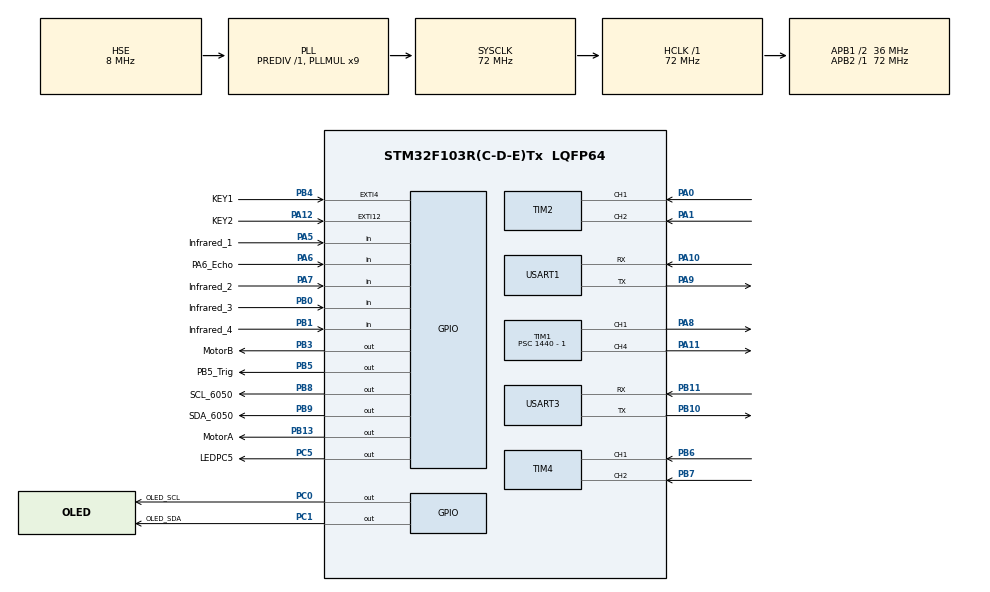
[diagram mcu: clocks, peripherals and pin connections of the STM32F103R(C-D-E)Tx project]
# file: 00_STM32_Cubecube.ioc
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FREERTOS.INCLUDE_uxTaskGetStackHighWaterMark=1
FREERTOS.Tasks01=StopTask,0,128,StartStopTask,Default,NULL,Dynamic,NULL,NULL;LEDTask,0,128,StartLEDTask,Default,NULL,Dynamic,NULL,NULL;OLEDTask,0,128,StartOLEDTask,Default,NULL,Dynamic,NULL,NULL;Multi_ModeTask,1,128,StartMulti_ModeTask,Default,NULL,Dynamic,NULL,NULL
FREERTOS.configUSE_NEWLIB_REENTRANT=1
Mcu.Family=STM32F1
Mcu.Name=STM32F103R(C-D-E)Tx
Mcu.Package=LQFP64
NVIC.EXTI15_10_IRQn=true\:5\:0\:false\:false\:true\:true\:true\:true\:true
NVIC.EXTI4_IRQn=true\:5\:0\:false\:false\:true\:true\:true\:true\:true
NVIC.PriorityGroup=NVIC_PRIORITYGROUP_4
NVIC.TIM1_UP_IRQn=true\:5\:0\:false\:false\:true\:true\:true\:true\:true
NVIC.TIM2_IRQn=true\:5\:0\:false\:false\:true\:true\:true\:true\:true
NVIC.TIM3_IRQn=true\:15\:0\:false\:false\:true\:false\:false\:true\:true
NVIC.TIM4_IRQn=true\:5\:0\:true\:false\:true\:true\:true\:true\:true
NVIC.TimeBase=TIM3_IRQn
NVIC.TimeBaseIP=TIM3
NVIC.USART1_IRQn=true\:5\:0\:true\:false\:true\:true\:true\:true\:true
NVIC.USART3_IRQn=true\:5\:0\:true\:false\:true\:true\:true\:true\:true
PA0-WKUP.GPIO_PuPd=GPIO_PULLUP
PA0-WKUP.Signal=S_TIM2_CH1_ETR
PA1.GPIO_PuPd=GPIO_PULLUP
PA1.Signal=S_TIM2_CH2
PA10.Mode=Asynchronous
PA10.Signal=USART1_RX
PA11.Signal=S_TIM1_CH4
PA12.GPIO_Label=KEY2
PA12.GPIO_ModeDefaultEXTI=GPIO_MODE_IT_FALLING
PA12.GPIO_PuPd=GPIO_PULLUP
PA12.Signal=GPXTI12
PA13.Mode=Serial_Wire
PA13.Signal=SYS_JTMS-SWDIO
PA14.Mode=Serial_Wire
PA14.Signal=SYS_JTCK-SWCLK
PA5.GPIO_Label=Infrared_1
PA5.Signal=GPIO_Input
PA6.GPIO_Label=PA6_Echo
PA6.Signal=GPIO_Input
PA7.GPIO_Label=Infrared_2
PA7.Signal=GPIO_Input
PA8.Signal=S_TIM1_CH1
PA9.Mode=Asynchronous
PA9.Signal=USART1_TX
PB0.GPIO_Label=Infrared_3
PB0.Signal=GPIO_Input
PB1.GPIO_Label=Infrared_4
PB1.Signal=GPIO_Input
PB10.Mode=Asynchronous
PB10.Signal=USART3_TX
PB11.Mode=Asynchronous
PB11.Signal=USART3_RX
PB13.GPIO_Label=MotorA
PB13.Signal=GPIO_Output
PB3.GPIO_Label=MotorB
PB3.Signal=GPIO_Output
PB4.GPIO_Label=KEY1
PB4.GPIO_PuPd=GPIO_PULLDOWN
PB4.Signal=GPXTI4
PB5.GPIO_Label=PB5_Trig
PB5.Signal=GPIO_Output
PB6.GPIO_PuPd=GPIO_PULLUP
PB6.Signal=S_TIM4_CH1
PB7.GPIO_PuPd=GPIO_PULLUP
PB7.Signal=S_TIM4_CH2
PB8.GPIO_Label=SCL_6050
PB8.PinState=GPIO_PIN_SET
PB8.Signal=GPIO_Output
PB9.GPIO_Label=SDA_6050
PB9.PinState=GPIO_PIN_SET
PB9.Signal=GPIO_Output
PC0.GPIO_Label=OLED_SCL
PC0.GPIO_PuPd=GPIO_PULLUP
PC0.PinState=GPIO_PIN_SET
PC0.Signal=GPIO_Output
PC1.GPIO_Label=OLED_SDA
PC1.GPIO_PuPd=GPIO_PULLUP
PC1.PinState=GPIO_PIN_SET
PC1.Signal=GPIO_Output
PC14-OSC32_IN.Mode=LSE-External-Oscillator
PC14-OSC32_IN.Signal=RCC_OSC32_IN
PC15-OSC32_OUT.Mode=LSE-External-Oscillator
PC15-OSC32_OUT.Signal=RCC_OSC32_OUT
PC5.GPIO_Label=LEDPC5
PC5.GPIO_PuPd=GPIO_PULLUP
PC5.GPIO_Speed=GPIO_SPEED_FREQ_MEDIUM
PC5.PinState=GPIO_PIN_SET
PC5.Signal=GPIO_Output
PD0-OSC_IN.Mode=HSE-External-Oscillator
PD0-OSC_IN.Signal=RCC_OSC_IN
PD1-OSC_OUT.Mode=HSE-External-Oscillator
PD1-OSC_OUT.Signal=RCC_OSC_OUT
ProjectManager.HeapSize=0x800
ProjectManager.StackSize=0x800
ProjectManager.TargetToolchain=STM32CubeIDE
RCC.ADCPresc=RCC_ADCPCLK2_DIV6
RCC.AHBFreq_Value=72000000
RCC.APB1CLKDivider=RCC_HCLK_DIV2
RCC.APB1Freq_Value=36000000
RCC.APB1TimFreq_Value=72000000
RCC.APB2Freq_Value=72000000
RCC.APB2TimFreq_Value=72000000
RCC.HCLKFreq_Value=72000000
RCC.PLLMUL=RCC_PLL_MUL9
RCC.PLLSourceVirtual=RCC_PLLSOURCE_HSE
RCC.SYSCLKFreq_VALUE=72000000
RCC.SYSCLKSource=RCC_SYSCLKSOURCE_PLLCLK
RCC.USBFreq_Value=72000000
SH.S_TIM1_CH1.0=TIM1_CH1,PWM Generation1 CH1
SH.S_TIM1_CH4.0=TIM1_CH4,PWM Generation4 CH4
SH.S_TIM2_CH1_ETR.0=TIM2_CH1,Encoder_Interface
SH.S_TIM2_CH2.0=TIM2_CH2,Encoder_Interface
SH.S_TIM4_CH1.0=TIM4_CH1,Encoder_Interface
SH.S_TIM4_CH2.0=TIM4_CH2,Encoder_Interface
TIM1.AutoReloadPreload=TIM_AUTORELOAD_PRELOAD_ENABLE
TIM1.Channel-PWM\ Generation1\ CH1=TIM_CHANNEL_1
TIM1.Channel-PWM\ Generation4\ CH4=TIM_CHANNEL_4
TIM1.Period=100 - 1
TIM1.Prescaler=1440 - 1
TIM1.Pulse-PWM\ Generation1\ CH1=50
TIM1.Pulse-PWM\ Generation4\ CH4=50
TIM2.EncoderMode=TIM_ENCODERMODE_TI12
TIM2.IC1Filter=6
TIM2.IC2Filter=6
TIM4.EncoderMode=TIM_ENCODERMODE_TI12
TIM4.IC1Filter=6
TIM4.IC2Filter=6
USART1.VirtualMode=VM_ASYNC
USART3.VirtualMode=VM_ASYNC
VP_FREERTOS_VS_CMSIS_V1.Mode=CMSIS_V1
VP_SYS_VS_tim3.Mode=TIM3
VP_TIM1_VS_ClockSourceINT.Mode=Internal
board=custom

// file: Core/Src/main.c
/* USER CODE BEGIN Header */
/**
  ******************************************************************************
  * @file           : main.c
  * @brief          : Main program body
  ******************************************************************************
  * @attention
  *
  * Copyright (c) 2026 STMicroelectronics.
  * All rights reserved.
  *
  * This software is licensed under terms that can be found in the LICENSE file
  * in the root directory of this software component.
  * If no LICENSE file comes with this software, it is provided AS-IS.
  *
  ******************************************************************************
  */
/* USER CODE END Header */
#include "main.h"
#include "cmsis_os.h"
#include "tim.h"
#include "usart.h"
#include "gpio.h"

/* USER CODE BEGIN Includes */
#include "motor.h"
#include "stdio.h"
#include "string.h"
#include "pid.h"
#include "cJSON.h"
#include <string.h>
#include "oled.h"
#include "HC_SR04.h"
#include "mpu6050.h"
#include "mpuiic.h"
#include "inv_mpu.h"
#include "inv_mpu_dmp_motion_driver.h"
/* USER CODE END Includes */

/* USER CODE BEGIN PM */
//extern float Motor1Speed;
//extern float Motor2Speed;
char uart_buf[64];
//extern uint16_t Encode1Count;
//extern uint16_t Encode2Count;
extern tPid pid_Motor1Speed;

int Motor1PWM;
int Motor2PWM;

extern tPid pid_Motor1Speed;
extern tPid pid_Motor2Speed;
extern uint8_t Usart1_ReadBuf[256];
extern uint8_t Usart1_ReadCount;
float p, i, d, a, b;
uint8_t K1_1[64];
extern float distance;

extern tPid pidInfrared_Tracking;
uint8_t InfraredLevel_Read[4] = {0};
int8_t CurrentState = 0;
int8_t PreviousState = 0;
float Infraredpid_Speed;  // Infrared PID Output Speed
float Infraredpid_Speed1; // Infrared Final PID Output Speed - Motor 1
float Infraredpid_Speed2; // Infrared Final PID Output Speed - Motor 2

uint8_t Usart3ReceiveData;
uint8_t Usart3Array[80];
float SR04_Read;
float PID_Follow;
extern tPid pidFollow;

float pitch, roll, yaw;

float MPU6050pid_YawMove = 0.00;
float MPU6050pid_YawMove1 = 0.00;
float MPU6050pid_YawMove2 = 0.00;
extern tPid pidMPU6050_YawMovement;

uint16_t timerCount = 0;
short Encode1Count = 0;
short Encode2Count = 0;
float Motor1Speed = 0.00;
float Motor2Speed = 0.00;

uint8_t Key_Mode = 0;

/* USER CODE END PM */

void SystemClock_Config(void);
void MX_FREERTOS_Init(void);
/* USER CODE BEGIN PFP */

/* Input Capture */
//uint8_t rising_flag = 0;
//uint8_t falling_flag = 0;
//uint8_t overflow_val = 0;
//uint16_t cnt_val = 0;

/* USER CODE END PFP */

/* USER CODE BEGIN 0 */

/* Input Capture */
//void HAL_TIM_IC_CaptureCallback(TIM_HandleTypeDef *htim){
//	if(htim->Instance == TIM5){
//		if(falling_flag == 0){
//
//			if(rising_flag == 1){
//				/* This will capture falling edge */
//				falling_flag = 1;
//				cnt_val = HAL_TIM_ReadCapturedValue(htim, TIM_CHANNEL_1);
//				__HAL_TIM_SET_CAPTUREPOLARITY(htim, TIM_CHANNEL_1, TIM_INPUTCHANNELPOLARITY_RISING);
//			}
//
//			else{
//				rising_flag = 0;
//				falling_flag = 0;
//				overflow_val = 0;
//				cnt_val = 0;
//
//				/* This will capture rising edge */
//				rising_flag = 1;
//				__HAL_TIM_DISABLE(htim);
//				__HAL_TIM_SET_COUNTER(htim, 0);
//				__HAL_TIM_SET_CAPTUREPOLARITY(htim, TIM_CHANNEL_1, TIM_INPUTCHANNELPOLARITY_FALLING);
//				__HAL_TIM_ENABLE(htim);
//			}
//		}
//	}
//}
//
//void HAL_TIM_PeriodElapsedCallback(TIM_HandleTypeDef *htim){
//	if(htim->Instance == TIM5){
//		if(falling_flag == 0){
//			if(rising_flag == 1){
//				if((overflow_val & 0XFF) == 0XFF){ // Staying HIGH for too long, capture in mandatory
//					falling_flag = 1;
//					__HAL_TIM_SET_CAPTUREPOLARITY(htim, TIM_CHANNEL_1, TIM_INPUTCHANNELPOLARITY_RISING);
//					cnt_val = 0XFFFF;
//				}
//				else{
//					overflow_val++;
//				}
//			}
//		}
//	}
//}

/* USER CODE END 0 */

int main(void)
{

  /* USER CODE BEGIN 1 */

	/* PWM Output */
//	uint8_t dir = 1;
//	uint16_t val = 250;

	/* Input Capture */
//	uint32_t temp = 0;

  /* USER CODE END 1 */

  /* MCU Configuration--------------------------------------------------------*/

  /* Reset of all peripherals, Initializes the Flash interface and the Systick. */
  HAL_Init();

  /* Configure the system clock */
  SystemClock_Config();

  /* Initialize all configured peripherals */
  MX_GPIO_Init();
  MX_TIM1_Init();
  MX_TIM2_Init();
  MX_TIM4_Init();
  MX_USART1_UART_Init();
  MX_USART3_UART_Init();
  /* USER CODE BEGIN 2 */

	/* PWM Output */
//  HAL_TIM_PWM_Start(&htim3, TIM_CHANNEL_2);

   /* Input Capture */
//  HAL_TIM_Base_Start_IT(&htim5);
//  HAL_TIM_IC_Start_IT(&htim5, TIM_CHANNEL_1);

  /* PWM Dead Time */
//  HAL_TIM_PWM_Start(&htim1, TIM_CHANNEL_1);
//  HAL_TIMEx_PWMN_Start(&htim1, TIM_CHANNEL_1);

  HAL_TIM_PWM_Start(&htim1, TIM_CHANNEL_1);
  HAL_TIM_PWM_Start(&htim1, TIM_CHANNEL_4);
  HAL_TIM_Encoder_Start(&htim2, TIM_CHANNEL_ALL);
  HAL_TIM_Encoder_Start(&htim4, TIM_CHANNEL_ALL);
  HAL_TIM_Base_Start_IT(&htim2);
  HAL_TIM_Base_Start_IT(&htim4);
  HAL_TIM_Base_Start_IT(&htim1);
  __HAL_UART_ENABLE_IT(&huart1, UART_IT_RXNE);

  PID_init();
//  OLED_Init();
//  OLED_Clear();
  HAL_UART_Receive_IT(&huart3, &Usart3ReceiveData, 1);

  HAL_Delay(500);
  MPU_Init();
  while(MPU_Init() != 0);
  while(mpu_dmp_init() != 0);
//  cJSON *cJsonData, *cJsonValue;

//  delay_init();
  /* USER CODE END 2 */

  /* Call init function for freertos objects (in cmsis_os2.c) */
  MX_FREERTOS_Init();

  /* Start scheduler */
  osKernelStart();

  /* We should never get here as control is now taken by the scheduler */

  /* Infinite loop */
  /* USER CODE BEGIN WHILE */
  while (1)
  {
	  /* Testing Serial Monitor */
//	  uint8_t str[] = "Hello UART\r\n";
//	  HAL_UART_Transmit(&huart1, str, sizeof(str)-1, 100);
//	  HAL_Delay(500);

	  /* PWM Output */
//	  if(dir == 1) val++;
//	  else val--;
//
//	  if(val >= 300) dir = 0;
//	  if(val == 0) dir = 1;
//	  __HAL_TIM_SET_COMPARE(&htim3, TIM_CHANNEL_2, val);
//	  HAL_Delay(10);

	  /* Input Capture */
//	  if(falling_flag == 1){
//		  temp = overflow_val * 65536;
//		  temp += cnt_val;
//		  printf("HIGH pulse width: %lu us\r\n", temp);
//		  falling_flag = 0;
//		  rising_flag = 0;
//	  }

//	  printf("HIGH pulse width: hello!!\r\n");
//	  fflush(stdout);
//	  HAL_Delay(100);

    /* USER CODE END WHILE */

    /* USER CODE BEGIN 3 */

	  sprintf((char * )K1_1, "Key_Mode:%d", Key_Mode);
	  OLED_ShowString(0, 0, K1_1, 16, 1); // show current key mode

	  if(Key_Mode == 0){

		  /* OLED Display Info (Speed, Distance, Voltage) */
		  sprintf((char * )K1_1, "Motor1Speed:%f Motor2Speed:%f", Motor1Speed, Motor2Speed);
		  OLED_ShowString(0, 0, K1_1, 16, 1); // From oled.c, a function that shows position

		  sprintf((char * )K1_1, "Distance:%f", distance);
		  OLED_ShowString(0, 1, K1_1, 16, 1); // a function that shows distance traveled

//		  sprintf((char * )K1_1, "Battery_Voltage:%.2d", adcGetBatteryVoltage());
//		  OLED_ShowString(0, 2, K1_1, 16, 1); // a function that shows battery voltage

		  sprintf((char * )Usart3Array, "HC_SR04:%.2f\r\n", HC_SR04_Read());
		  OLED_ShowString(0, 2, K1_1, 16, 1); // a function that shows HC_SR04(supersonic wave) value

		  sprintf((char * )Usart3Array, "pitch:%.2f roll:%.2f yaw:%.2f\r\n", pitch, roll, yaw);
		  OLED_ShowString(0, 2, K1_1, 16, 1); // a function that shows 6050 position values

		  /* Receive 6050 data */
//		  while(mpu_dmp_get_data(&pitch, &roll, &yaw) != 0) {};

		  /* Show Motors Stop */
		  motorPIDSetSpeed(0, 0);
	  }

	  if(Key_Mode == 1){

		  /* Infrared Movement With PID */
		  InfraredLevel_Read[0] = Read_Infrared_1;
		  InfraredLevel_Read[1] = Read_Infrared_2;
		  InfraredLevel_Read[2] = Read_Infrared_3;
		  InfraredLevel_Read[3] = Read_Infrared_4;

		  if(InfraredLevel_Read[0] == 0 && InfraredLevel_Read[1] == 0 && InfraredLevel_Read[2] == 0 && InfraredLevel_Read[3] == 0){
	//		  sprintf(uart_buf, "Moving Forward\r\n");
	//		  HAL_UART_Transmit(&huart1, (uint8_t *)uart_buf, strlen(uart_buf), 100); // Increase efficiency
			  CurrentState = 0; // move forward
		  }
		  else if(InfraredLevel_Read[0] == 0 && InfraredLevel_Read[1] == 1 && InfraredLevel_Read[2] == 0 && InfraredLevel_Read[3] == 0){
	//		  sprintf(uart_buf, "Turn Right\r\n");
	//		  HAL_UART_Transmit(&huart1, (uint8_t *)uart_buf, strlen(uart_buf), 100); // Increase efficiency
			  CurrentState = -1; // turn right
		  }
		  else if(InfraredLevel_Read[0] == 1 && InfraredLevel_Read[1] == 0 && InfraredLevel_Read[2] == 0 && InfraredLevel_Read[3] == 0){
	//		  sprintf(uart_buf, "Instantly Turn Right\r\n");
	//		  HAL_UART_Transmit(&huart1, (uint8_t *)uart_buf, strlen(uart_buf), 100); // Increase efficiency
			  CurrentState = -2; // instantly turn right
		  }
		  else if(InfraredLevel_Read[0] == 1 && InfraredLevel_Read[1] == 1 && InfraredLevel_Read[2] == 0 && InfraredLevel_Read[3] == 0){
	//		  sprintf(uart_buf, "Instantly Turn Right\r\n");
	//		  HAL_UART_Transmit(&huart1, (uint8_t *)uart_buf, strlen(uart_buf), 100); // Increase efficiency
			  CurrentState = -3; // instantly turn right
		  }
		  else if(InfraredLevel_Read[0] == 0 && InfraredLevel_Read[1] == 0 && InfraredLevel_Read[2] == 1 && InfraredLevel_Read[3] == 0){
	//		  sprintf(uart_buf, "Turn Left\r\n");
	//		  HAL_UART_Transmit(&huart1, (uint8_t *)uart_buf, strlen(uart_buf), 100); // Increase efficiency
			  CurrentState = 1; // turn left
		  }
		  else if(InfraredLevel_Read[0] == 0 && InfraredLevel_Read[1] == 0 && InfraredLevel_Read[2] == 0 && InfraredLevel_Read[3] == 1){
	//		  sprintf(uart_buf, "Instantly Turn Left\r\n");
	//		  HAL_UART_Transmit(&huart1, (uint8_t *)uart_buf, strlen(uart_buf), 100); // Increase efficiency
			  CurrentState = 2; // instantly turn left
		  }
		  else if(InfraredLevel_Read[0] == 0 && InfraredLevel_Read[1] == 0 && InfraredLevel_Read[2] == 1 && InfraredLevel_Read[3] == 1){
	//		  sprintf(uart_buf, "Instantly Turn Left\r\n");
	//		  HAL_UART_Transmit(&huart1, (uint8_t *)uart_buf, strlen(uart_buf), 100); // Increase efficiency
			  CurrentState = 3; // instantly turn left
		  }

		  Infraredpid_Speed = PID_realize(&pidInfrared_Tracking, CurrentState); // PID calculates the target speed
		  Infraredpid_Speed1 = 3 + Infraredpid_Speed; // Motor1 Speed = Initial Speed + PID Output Speed
		  Infraredpid_Speed2 = 3 - Infraredpid_Speed; // Motor2 Speed = Initial Speed - PID Output Speed
		  if(Infraredpid_Speed1 > 5) Infraredpid_Speed1 = 5;
		  if(Infraredpid_Speed1 < 0) Infraredpid_Speed1 = 0;
		  if(Infraredpid_Speed2 > 5) Infraredpid_Speed2 = 5;
		  if(Infraredpid_Speed2 < 0) Infraredpid_Speed2 = 0;
		  if(CurrentState != PreviousState){
			  motorPIDSetSpeed(Infraredpid_Speed1, Infraredpid_Speed2);
		  }
		  PreviousState = CurrentState;
	  }

	  if(Key_Mode == 2){
		  /* Using Computer USART to Control Car */
		  // This is completed in stm32f1xx_it.c
	  }

	  if(Key_Mode == 3){
		  /* Obstacle Avoidance */
		  	  if(HC_SR04_Read() > 25){ // the next 25cm are clear, no obstacle
		  		  motorPIDSetSpeed(1, 1); // move forward
		  		  HAL_Delay(100);
		  	  }
		  	  else{ // obstacle in front
		  		  motorPIDSetSpeed(-1, 1); // turn around (to the right)
		  		  HAL_Delay(500);
		  		  if(HC_SR04_Read() > 25){ // no obstacle at the right
		  			  motorPIDSetSpeed(1, 1); // move forward
		  			  HAL_Delay(100);
		  		  }
		  		  else{ // obstacle at the right
		  			  motorPIDSetSpeed(1, -1); // turn around (to the left)
		  			  HAL_Delay(1000);
		  			  if(HC_SR04_Read() > 25){ // no obstacle at the left
		  				  motorPIDSetSpeed(1, 1); // move forward
		  				  HAL_Delay(100);
		  			  }
		  			  else{ // obstacle at the left
		  				  motorPIDSetSpeed(-1, -1); // move backward
		  				  HAL_Delay(1000);
		  				  motorPIDSetSpeed(-1, 1); // turn around (to the right)
		  				  HAL_Delay(50);
		  			  }
		  		  }
		  	  }
	  }

	  if(Key_Mode == 4){
		  /* Following with PID */
		  SR04_Read = HC_SR04_Read(); // read the distance to the obstacle
		  if(SR04_Read < 60){ // start following when the obstacle is 60cm ahead
			  PID_Follow = PID_realize(&pidFollow, SR04_Read); // PID calculates target speed
			  if(PID_Follow > 6) PID_Follow = 6;
			  if(PID_Follow < -6) PID_Follow = -6;
			  motorPIDSetSpeed(PID_Follow, PID_Follow); // speed applies to motors
		  }
		  else motorPIDSetSpeed(0, 0); // stop
		  HAL_Delay(10);
	  }

	  if(Key_Mode == 5){
		  sprintf((char * )Usart3Array, "pitch:%.2f roll:%.2f yaw:%.2f\r\n", pitch, roll, yaw);
		 	  HAL_UART_Transmit(&huart3, (uint8_t *)Usart3Array, strlen((const char * )Usart3Array), 0XFFFF);
		 	  HAL_Delay(1000);

		 	  /* MPU_6050 PID Control */
		 	  // mpu_dmp_get_data(&pitch, &roll, &yaw); // DMP returns angle value
//		 	  while(mpu_dmp_get_data(&pitch, &roll, &yaw) != 0){}

		 	  MPU6050pid_YawMove = PID_realize(&pidMPU6050_YawMovement, yaw); // PID calculates target speed
		 	  MPU6050pid_YawMove1 = 1.5 + MPU6050pid_YawMove;
		 	  MPU6050pid_YawMove2 = 1.5 - MPU6050pid_YawMove;
		 	  if(MPU6050pid_YawMove1 > 3.5) MPU6050pid_YawMove1 = 3.5;
		 	  if(MPU6050pid_YawMove1 < 0) MPU6050pid_YawMove1 = 0;
		 	  if(MPU6050pid_YawMove2 > 3.5) MPU6050pid_YawMove2 = 3.5;
		 	  if(MPU6050pid_YawMove2 < 0) MPU6050pid_YawMove2 = 0;
		 	  motorPIDSetSpeed(MPU6050pid_YawMove1, MPU6050pid_YawMove2);
	  }

	  /* PWM control */
//	  if(Motor1Speed < 2.9) Motor1PWM++;
//	  if(Motor1Speed > 3.1) Motor1PWM--;
//	  if(Motor2Speed < 2.9) Motor2PWM++;
//	  if(Motor2Speed > 3.1) Motor2PWM--;

//	  sprintf(uart_buf, "Encode1Count: %d\r\n", Encode1Count);
//	  HAL_UART_Transmit(&huart1, (uint8_t *)uart_buf, strlen(uart_buf), 100);
//
//	  sprintf(uart_buf, "Encode2Count: %d\r\n", Encode2Count);
//	  HAL_UART_Transmit(&huart1, (uint8_t *)uart_buf, strlen(uart_buf), 100);

//	  sprintf(uart_buf, "Motor1Speed: %d\r\n", Motor1Speed);
//	  HAL_UART_Transmit(&huart1, (uint8_t *)uart_buf, strlen(uart_buf), 100);
//
//	  sprintf(uart_buf, "Motor2Speed: %d\r\n", Motor2Speed);
//	  HAL_UART_Transmit(&huart1, (uint8_t *)uart_buf, strlen(uart_buf), 100);
//
//	  sprintf(uart_buf, "Motor1PWM: %d\r\n", Motor1PWM);
//	  HAL_UART_Transmit(&huart1, (uint8_t *)uart_buf, strlen(uart_buf), 100);
//
//	  sprintf(uart_buf, "Motor2PWM: %d\r\n", Motor2PWM);
//	  HAL_UART_Transmit(&huart1, (uint8_t *)uart_buf, strlen(uart_buf), 100);
//	  HAL_Delay(10);

	  /* Control Car Movement */
//	  motorPIDSetSpeed(1, 2); // turn right (Motor2 runs faster than Motor1, Motor2 on the left)
//	  motorPIDSetSpeed(2, 1); // turn left (Motor1 runs faster than Motor2)
//	  motorPIDSetSpeed(1, 1); // move forward
//	  motorPIDSetSpeed(-1, -1); // move backward
//	  motorPIDSetSpeed(-1, 1); // turn around (to the right)
//	  motorPIDSetSpeed(1, -1); // turn around (to the left)
//    motorPidAccelerate();
//	  motorPidDecelerate();

	  /* OLED Display Info (Speed, Distance, Voltage) */
//	  sprintf((char * )K1_1, "Motor1Speed:%d Motor2Speed:%d", Motor1Speed, Motor2Speed);
//	  OLED_ShowString(0, 0, K1_1, 16, 1); // From oled.c, a function that shows position
//
//	  sprintf((char * )K1_1, "Distance:%d", distance);
//	  OLED_ShowString(0, 1, K1_1, 16, 1); // a function that shows distance traveled
//
//	  sprintf((char * )K1_1, "Battery_Voltage:%.2f", adcGetBatteryVoltage());
//	  OLED_ShowString(0, 2, K1_1, 16, 1); // a function that shows battery voltage
//
//	  sprintf((char * )Usart3Array, "HC_SR04:%.2f\r\n", HC_SR04_Read());
//	  OLED_ShowString(0, 2, K1_1, 16, 1); // a function that shows HC_SR04(supersonic wave) value
//
//	  sprintf((char * )Usart3Array, "pitch:%.2f roll:%.2f yaw:%.2f\r\n", pitch, roll, yaw);
//	  OLED_ShowString(0, 2, K1_1, 16, 1); // a function that shows 6050 position values
//
//	  OLED_Refresh();

	  /* Infrared Movement With PID */
//	  InfraredLevel_Read[0] = Read_Infrared_1;
//	  InfraredLevel_Read[1] = Read_Infrared_2;
//	  InfraredLevel_Read[2] = Read_Infrared_3;
//	  InfraredLevel_Read[3] = Read_Infrared_4;
//
//	  if(InfraredLevel_Read[0] == 0 && InfraredLevel_Read[1] == 0 && InfraredLevel_Read[2] == 0 && InfraredLevel_Read[3] == 0){
////		  sprintf(uart_buf, "Moving Forward\r\n");
////		  HAL_UART_Transmit(&huart1, (uint8_t *)uart_buf, strlen(uart_buf), 100); // Increase efficiency
//		  CurrentState = 0; // move forward
//	  }
//	  else if(InfraredLevel_Read[0] == 0 && InfraredLevel_Read[1] == 1 && InfraredLevel_Read[2] == 0 && InfraredLevel_Read[3] == 0){
////		  sprintf(uart_buf, "Turn Right\r\n");
////		  HAL_UART_Transmit(&huart1, (uint8_t *)uart_buf, strlen(uart_buf), 100); // Increase efficiency
//		  CurrentState = -1; // turn right
//	  }
//	  else if(InfraredLevel_Read[0] == 1 && InfraredLevel_Read[1] == 0 && InfraredLevel_Read[2] == 0 && InfraredLevel_Read[3] == 0){
////		  sprintf(uart_buf, "Instantly Turn Right\r\n");
////		  HAL_UART_Transmit(&huart1, (uint8_t *)uart_buf, strlen(uart_buf), 100); // Increase efficiency
//		  CurrentState = -2; // instantly turn right
//	  }
//	  else if(InfraredLevel_Read[0] == 1 && InfraredLevel_Read[1] == 1 && InfraredLevel_Read[2] == 0 && InfraredLevel_Read[3] == 0){
////		  sprintf(uart_buf, "Instantly Turn Right\r\n");
////		  HAL_UART_Transmit(&huart1, (uint8_t *)uart_buf, strlen(uart_buf), 100); // Increase efficiency
//		  CurrentState = -3; // instantly turn right
//	  }
//	  else if(InfraredLevel_Read[0] == 0 && InfraredLevel_Read[1] == 0 && InfraredLevel_Read[2] == 1 && InfraredLevel_Read[3] == 0){
////		  sprintf(uart_buf, "Turn Left\r\n");
////		  HAL_UART_Transmit(&huart1, (uint8_t *)uart_buf, strlen(uart_buf), 100); // Increase efficiency
//		  CurrentState = 1; // turn left
//	  }
//	  else if(InfraredLevel_Read[0] == 0 && InfraredLevel_Read[1] == 0 && InfraredLevel_Read[2] == 0 && InfraredLevel_Read[3] == 1){
////		  sprintf(uart_buf, "Instantly Turn Left\r\n");
////		  HAL_UART_Transmit(&huart1, (uint8_t *)uart_buf, strlen(uart_buf), 100); // Increase efficiency
//		  CurrentState = 2; // instantly turn left
//	  }
//	  else if(InfraredLevel_Read[0] == 0 && InfraredLevel_Read[1] == 0 && InfraredLevel_Read[2] == 1 && InfraredLevel_Read[3] == 1){
////		  sprintf(uart_buf, "Instantly Turn Left\r\n");
////		  HAL_UART_Transmit(&huart1, (uint8_t *)uart_buf, strlen(uart_buf), 100); // Increase efficiency
//		  CurrentState = 3; // instantly turn left
//	  }
//
//	  Infraredpid_Speed = PID_realize(&pidInfrared_Tracking, CurrentState); // PID calculates the target speed
//	  Infraredpid_Speed1 = 3 + Infraredpid_Speed; // Motor1 Speed = Initial Speed + PID Output Speed
//	  Infraredpid_Speed2 = 3 - Infraredpid_Speed; // Motor2 Speed = Initial Speed - PID Output Speed
//	  if(Infraredpid_Speed1 > 5) Infraredpid_Speed1 = 5;
//	  if(Infraredpid_Speed1 < 0) Infraredpid_Speed1 = 0;
//	  if(Infraredpid_Speed2 > 5) Infraredpid_Speed2 = 5;
//	  if(Infraredpid_Speed2 < 0) Infraredpid_Speed2 = 0;
//	  if(CurrentState != PreviousState){
//		  motorPIDSetSpeed(Infraredpid_Speed1, Infraredpid_Speed2);
//	  }
//	  PreviousState = CurrentState;

	  /* Infrared Movement With No PID */
//	  if(Read_Infrared_1 == 0 && Read_Infrared_2 == 0 && Read_Infrared_3 == 0 && Read_Infrared_4 == 0){
//		  sprintf(uart_buf, "Moving Forward\r\n");
//		  HAL_UART_Transmit(&huart1, (uint8_t *)uart_buf, strlen(uart_buf), 100);
//		  motorPIDSetSpeed(1, 1); // move forward
//	  }
//	  if(Read_Infrared_1 == 0 && Read_Infrared_2 == 1 && Read_Infrared_3 == 0 && Read_Infrared_4 == 0){
//		  sprintf(uart_buf, "Turning Right\r\n");
//		  HAL_UART_Transmit(&huart1, (uint8_t *)uart_buf, strlen(uart_buf), 100);
//		  motorPIDSetSpeed(0.5, 2); // turn right
//	  }
//	  if(Read_Infrared_1 == 1 && Read_Infrared_2 == 0 && Read_Infrared_3 == 0 && Read_Infrared_4 == 0){
//		  sprintf(uart_buf, "Instantly Turning Right\r\n");
//		  HAL_UART_Transmit(&huart1, (uint8_t *)uart_buf, strlen(uart_buf), 100);
//		  motorPIDSetSpeed(0.5, 2.5); // instantly turn right
//	  }
//
//	  if(Read_Infrared_1 == 0 && Read_Infrared_2 == 0 && Read_Infrared_3 == 1 && Read_Infrared_4 == 0){
//		  sprintf(uart_buf, "Turning Left\r\n");
//		  HAL_UART_Transmit(&huart1, (uint8_t *)uart_buf, strlen(uart_buf), 100);
//		  motorPIDSetSpeed(2, 0.5); // turn left
//	  }
//
//	  if(Read_Infrared_1 == 0 && Read_Infrared_2 == 0 && Read_Infrared_3 == 0 && Read_Infrared_4 == 1){
//		  sprintf(uart_buf, "Instantly Turning Left\r\n");
//		  HAL_UART_Transmit(&huart1, (uint8_t *)uart_buf, strlen(uart_buf), 100);
//		  motorPIDSetSpeed(2.5, 0.5); // instantly turn left
//	  }
	  /* Using Computer USART to Control Car */

//	  sprintf((char * )Usart3Array, "Motor1Speed:%.2f Motor2Speed:%.2f\r\n", Motor1Speed, Motor2Speed);
//	  HAL_UART_Transmit(&huart3, (uint8_t *)Usart3Array, strlen((const char * )Usart3Array), 50);
//
//	  sprintf((char * )Usart3Array, "Distance:%.2f\r\n", distance);
//	  HAL_UART_Transmit(&huart3, (uint8_t *)Usart3Array, strlen((const char * )Usart3Array), 50);
//
//	  sprintf((char * )Usart3Array, "Battery_Voltage:%.2f\r\n", adcGetBatteryVoltage());
//	  HAL_UART_Transmit(&huart3, (uint8_t *)Usart3Array, strlen((const char * )Usart3Array), 50);
//
	  sprintf((char * )Usart3Array, "HC_SR04:%.2f\r\n", HC_SR04_Read());
	  HAL_UART_Transmit(&huart3, (uint8_t *)Usart3Array, strlen((const char * )Usart3Array), 0XFFFF);
	  HAL_Delay(1000);

//	  sprintf((char * )Usart3Array, "pitch:%.2f roll:%.2f yaw:%.2f\r\n", pitch, roll, yaw);
//	  HAL_UART_Transmit(&huart3, (uint8_t *)Usart3Array, strlen((const char * )Usart3Array), 0XFFFF);
//	  HAL_Delay(1000);
//
//	  /* MPU_6050 PID Control */
//	  // mpu_dmp_get_data(&pitch, &roll, &yaw); // DMP returns angle value
//	  while(mpu_dmp_get_data(&pitch, &roll, &yaw) != 0){}
//
//	  MPU6050pid_YawMove = PID_realize(&pidMPU6050_YawMovement, yaw); // PID calculates target speed
//	  MPU6050pid_YawMove1 = 1.5 + MPU6050pid_YawMove;
//	  MPU6050pid_YawMove2 = 1.5 - MPU6050pid_YawMove;
//	  if(MPU6050pid_YawMove1 > 3.5) MPU6050pid_YawMove1 = 3.5;
//	  if(MPU6050pid_YawMove1 < 0) MPU6050pid_YawMove1 = 0;
//	  if(MPU6050pid_YawMove2 > 3.5) MPU6050pid_YawMove2 = 3.5;
//	  if(MPU6050pid_YawMove2 < 0) MPU6050pid_YawMove2 = 0;
//	  motorPIDSetSpeed(MPU6050pid_YawMove1, MPU6050pid_YawMove2);

      /* cJson Usart Edit */
//	  if(Usart_WaitReasFinish() == 0){ // check if data finished receiving
//		  cJsonData = cJSON_Parse((const char *)Usart1_ReadBuf);
//
//		  if(cJSON_GetObjectItem(cJsonData, "p") != NULL){
//			  cJsonValue = cJSON_GetObjectItem(cJsonData, "p");
//			  p = cJsonValue->valuedouble;
//			  pid_Motor1Speed.Kp = p;
//		  }
//		  if(cJSON_GetObjectItem(cJsonData, "i") != NULL){
//			  cJsonValue = cJSON_GetObjectItem(cJsonData, "i");
//			  i = cJsonValue->valuedouble;
//			  pid_Motor1Speed.Ki = i;
//		  }
//		  if(cJSON_GetObjectItem(cJsonData, "d") != NULL){
//			  cJsonValue = cJSON_GetObjectItem(cJsonData, "d");
//			  d = cJsonValue->valuedouble;
//			  pid_Motor1Speed.Kd = d;
//		  }
//		  if(cJSON_GetObjectItem(cJsonData, "a") != NULL){
//			  cJsonValue = cJSON_GetObjectItem(cJsonData, "a");
//			  a = cJsonValue->valuedouble;
//			  pid_Motor1Speed.target_val = a;
//		  }
//		  if(cJSON_GetObjectItem(cJsonData, "b") != NULL){
//			  cJsonValue = cJSON_GetObjectItem(cJsonData, "b");
//			  b = cJsonValue->valuedouble;
//			  pid_Motor2Speed.target_val = b;
//		  }
//		  if(cJsonData != NULL){
//			  cJSON_Delete(cJsonData); // release RAM space, but keeping cJSONValue
//		  }
//		  memset(Usart1_ReadBuf, 0, sizeof(Usart1_ReadBuf)); //clean buf, do not use strlen here
//		  sprintf(uart_buf, "P: %.2f  I: %.2f  D: %.2f  A: %.2f\r\n", p, i, d, a);
//		  HAL_UART_Transmit(&huart1, (uint8_t *)uart_buf, strlen(uart_buf), 100);
//	  }

	  /* Obstacle Avoidance */
//	  if(HC_SR04_Read() > 25){ // the next 25cm are clear, no obstacle
//		  motorPIDSetSpeed(1, 1); // move forward
//		  HAL_Delay(100);
//	  }
//	  else{ // obstacle in front
//		  motorPIDSetSpeed(-1, 1); // turn around (to the right)
//		  HAL_Delay(500);
//		  if(HC_SR04_Read() > 25){ // no obstacle at the right
//			  motorPIDSetSpeed(1, 1); // move forward
//			  HAL_Delay(100);
//		  }
//		  else{ // obstacle at the right
//			  motorPIDSetSpeed(1, -1); // turn around (to the left)
//			  HAL_Delay(1000);
//			  if(HC_SR04_Read() > 25){ // no obstacle at the left
//				  motorPIDSetSpeed(1, 1); // move forward
//				  HAL_Delay(100);
//			  }
//			  else{ // obstacle at the left
//				  motorPIDSetSpeed(-1, -1); // move backward
//				  HAL_Delay(1000);
//				  motorPIDSetSpeed(-1, 1); // turn around (to the right)
//				  HAL_Delay(50);
//			  }
//		  }
//	  }
//  }

  /* Following without PID */
//  if(HC_SR04_Read() > 25){
//	  motorPIDSetSpeed(1, 1); // move forward
//	  HAL_Delay(100);
//  }
//  if(HC_SR04_Read() < 20){
//	  motorPIDSetSpeed(-1, -1); // move backward
//	  HAL_Delay(100);
//  }

  /* Following with PID */
//  SR04_Read = HC_SR04_Read(); // read the distance to the obstacle
//  if(SR04_Read < 60){ // start following when the obstacle is 60cm ahead
//	  PID_Follow = PID_realize(&pidFollow, SR04_Read); // PID calculates target speed
//	  if(PID_Follow > 6) PID_Follow = 6;
//	  if(PID_Follow < -6) PID_Follow = -6;
//	  motorPIDSetSpeed(PID_Follow, PID_Follow); // speed applies to motors
//  }
//  else motorPIDSetSpeed(0, 0); // stop
//  HAL_Delay(10);
  }

  /* USER CODE END 3 */
}

void SystemClock_Config(void)
{
  RCC_OscInitTypeDef RCC_OscInitStruct = {0};
  RCC_ClkInitTypeDef RCC_ClkInitStruct = {0};

  /** Initializes the RCC Oscillators according to the specified parameters
  * in the RCC_OscInitTypeDef structure.
  */
  RCC_OscInitStruct.OscillatorType = RCC_OSCILLATORTYPE_HSE;
  RCC_OscInitStruct.HSEState = RCC_HSE_ON;
  RCC_OscInitStruct.HSEPredivValue = RCC_HSE_PREDIV_DIV1;
  RCC_OscInitStruct.HSIState = RCC_HSI_ON;
  RCC_OscInitStruct.PLL.PLLState = RCC_PLL_ON;
  RCC_OscInitStruct.PLL.PLLSource = RCC_PLLSOURCE_HSE;
  RCC_OscInitStruct.PLL.PLLMUL = RCC_PLL_MUL9;
  if (HAL_RCC_OscConfig(&RCC_OscInitStruct) != HAL_OK)
  {
    Error_Handler();
  }

  /** Initializes the CPU, AHB and APB buses clocks
  */
  RCC_ClkInitStruct.ClockType = RCC_CLOCKTYPE_HCLK|RCC_CLOCKTYPE_SYSCLK
                              |RCC_CLOCKTYPE_PCLK1|RCC_CLOCKTYPE_PCLK2;
  RCC_ClkInitStruct.SYSCLKSource = RCC_SYSCLKSOURCE_PLLCLK;
  RCC_ClkInitStruct.AHBCLKDivider = RCC_SYSCLK_DIV1;
  RCC_ClkInitStruct.APB1CLKDivider = RCC_HCLK_DIV2;
  RCC_ClkInitStruct.APB2CLKDivider = RCC_HCLK_DIV1;

  if (HAL_RCC_ClockConfig(&RCC_ClkInitStruct, FLASH_LATENCY_2) != HAL_OK)
  {
    Error_Handler();
  }
}

/* USER CODE BEGIN 4 */

/* Printf Redirection */
//int fputc(int ch, FILE *f)
//{
//    uint8_t temp = (uint8_t)ch;
//    // 非阻塞发送，不等待，避免卡死printf
//    HAL_UART_Transmit_IT(&huart1, &temp, 1);
//    // 等待发送完成标志
//    while(HAL_UART_GetState(&huart1) == HAL_UART_STATE_BUSY_TX);
//    return ch;
//}
/* USER CODE END 4 */

void HAL_TIM_PeriodElapsedCallback(TIM_HandleTypeDef *htim)
{
  /* USER CODE BEGIN Callback 0 */
	if(htim == &htim1){ // htim1 500HZ, 2ms interruption
		timerCount++;
		if(timerCount % 5 == 0){ // runs every 10ms

			Encode1Count = (short)__HAL_TIM_GET_COUNTER(&htim4);
			Encode2Count = (short)__HAL_TIM_GET_COUNTER(&htim2);
			__HAL_TIM_SET_COUNTER(&htim4, 0);
			__HAL_TIM_SET_COUNTER(&htim2, 0);
			Motor1Speed = (float)Encode1Count * 100 / 9.6 / 11 / 4;
			Motor2Speed = (float)Encode2Count * 100 / 9.6 / 11 / 4;

		}
		if(timerCount % 10 == 0){ // runs every 20ms

			distance += 0.02 * Motor1Speed * 22;
			Motor1PWM = PID_realize(&pid_Motor1Speed, Motor1Speed);
			Motor2PWM = PID_realize(&pid_Motor2Speed, Motor2Speed);
			Motor_Set(Motor1PWM, Motor2PWM);

			timerCount = 0;
		}
	}
  /* USER CODE END Callback 0 */
  if (htim->Instance == TIM3)
  {
    HAL_IncTick();
  }
}

void Error_Handler(void)
{
  __disable_irq();
  while (1)
  {
  }
}

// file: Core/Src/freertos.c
/* USER CODE BEGIN Header */
/**
  ******************************************************************************
  * File Name          : freertos.c
  * Description        : Code for freertos applications
  ******************************************************************************
  * @attention
  *
  * Copyright (c) 2026 STMicroelectronics.
  * All rights reserved.
  *
  * This software is licensed under terms that can be found in the LICENSE file
  * in the root directory of this software component.
  * If no LICENSE file comes with this software, it is provided AS-IS.
  *
  ******************************************************************************
  */
/* USER CODE END Header */

#include "FreeRTOS.h"
#include "task.h"
#include "main.h"
#include "cmsis_os.h"

/* USER CODE BEGIN Includes */
#include "motor.h"
#include "stdio.h"
#include "string.h"
#include "pid.h"
#include "cJSON.h"
#include <string.h>
#include "oled.h"
#include "HC_SR04.h"
#include "mpu6050.h"
#include "mpuiic.h"
#include "inv_mpu.h"
#include "inv_mpu_dmp_motion_driver.h"

#include "tim.h"
#include "usart.h"
#include "gpio.h"
/* USER CODE END Includes */

/* USER CODE BEGIN PTD */
//extern float Motor1Speed;
//extern float Motor2Speed;
extern char uart_buf[64];
//extern uint16_t Encode1Count;
//extern uint16_t Encode2Count;
extern tPid pid_Motor1Speed;

extern int Motor1PWM;
extern int Motor2PWM;

extern tPid pid_Motor1Speed;
extern tPid pid_Motor2Speed;
extern uint8_t Usart1_ReadBuf[256];
extern uint8_t Usart1_ReadCount;
extern float p, i, d, a, b;
extern uint8_t K1_1[64];
extern float distance;

extern tPid pidInfrared_Tracking;
extern uint8_t InfraredLevel_Read[4];
extern int8_t CurrentState;
extern int8_t PreviousState;
extern float Infraredpid_Speed;  // Infrared PID Output Speed
extern float Infraredpid_Speed1; // Infrared Final PID Output Speed - Motor 1
extern float Infraredpid_Speed2; // Infrared Final PID Output Speed - Motor 2

extern uint8_t Usart3ReceiveData;
extern uint8_t Usart3Array[80];
extern float SR04_Read;
extern float PID_Follow;
extern tPid pidFollow;

extern float pitch, roll, yaw;

extern float MPU6050pid_YawMove;
extern float MPU6050pid_YawMove1;
extern float MPU6050pid_YawMove2;
extern tPid pidMPU6050_YawMovement;

extern uint16_t timerCount;
extern short Encode1Count;
extern short Encode2Count;
extern float Motor1Speed;
extern float Motor2Speed;

extern uint8_t Key_Mode;

/* USER CODE END PTD */

osThreadId StopTaskHandle;
osThreadId LEDTaskHandle;
osThreadId OLEDTaskHandle;
osThreadId Multi_ModeTaskHandle;

void StartStopTask(void const * argument);
void StartLEDTask(void const * argument);
void StartOLEDTask(void const * argument);
void StartMulti_ModeTask(void const * argument);

void MX_FREERTOS_Init(void); /* (MISRA C 2004 rule 8.1) */

/* GetIdleTaskMemory prototype (linked to static allocation support) */
void vApplicationGetIdleTaskMemory( StaticTask_t **ppxIdleTaskTCBBuffer, StackType_t **ppxIdleTaskStackBuffer, uint32_t *pulIdleTaskStackSize );

/* USER CODE BEGIN GET_IDLE_TASK_MEMORY */
static StaticTask_t xIdleTaskTCBBuffer;
static StackType_t xIdleStack[configMINIMAL_STACK_SIZE];

void vApplicationGetIdleTaskMemory( StaticTask_t **ppxIdleTaskTCBBuffer, StackType_t **ppxIdleTaskStackBuffer, uint32_t *pulIdleTaskStackSize )
{
  *ppxIdleTaskTCBBuffer = &xIdleTaskTCBBuffer;
  *ppxIdleTaskStackBuffer = &xIdleStack[0];
  *pulIdleTaskStackSize = configMINIMAL_STACK_SIZE;
  /* place for user code */
}
/* USER CODE END GET_IDLE_TASK_MEMORY */

void MX_FREERTOS_Init(void) {

  /* Create the thread(s) */
  /* definition and creation of StopTask */
  osThreadDef(StopTask, StartStopTask, osPriorityNormal, 0, 128);
  StopTaskHandle = osThreadCreate(osThread(StopTask), NULL);

  /* definition and creation of LEDTask */
  osThreadDef(LEDTask, StartLEDTask, osPriorityNormal, 0, 128);
  LEDTaskHandle = osThreadCreate(osThread(LEDTask), NULL);

  /* definition and creation of OLEDTask */
  osThreadDef(OLEDTask, StartOLEDTask, osPriorityNormal, 0, 128);
  OLEDTaskHandle = osThreadCreate(osThread(OLEDTask), NULL);

  /* definition and creation of Multi_ModeTask */
  osThreadDef(Multi_ModeTask, StartMulti_ModeTask, osPriorityAboveNormal, 0, 128);
  Multi_ModeTaskHandle = osThreadCreate(osThread(Multi_ModeTask), NULL);

}

void StartStopTask(void const * argument)
{
  /* USER CODE BEGIN StartStopTask */
  /* Infinite loop */
  for(;;)
  {
	    /* Check if the task is running */
		UBaseType_t stackHighWaterMark = uxTaskGetStackHighWaterMark(NULL);
		sprintf((char * )Usart3Array, "StartStopTask Mark:%u words\n", (unsigned int)stackHighWaterMark);
		HAL_UART_Transmit(&huart3, (uint8_t *)Usart3Array, strlen((const char * )Usart3Array), 0XFFFF);
		size_t freeHeapSize = xPortGetFreeHeapSize();
		sprintf((char * )Usart3Array, "StartStopTask Free Heap Size:%u bytes\n", (unsigned int)freeHeapSize);
		HAL_UART_Transmit(&huart3, (uint8_t *)Usart3Array, strlen((const char * )Usart3Array), 0XFFFF);

		if(Key_Mode == 0){
			motorPIDSetSpeed(0, 0);
		}
    osDelay(10);
  }
  /* USER CODE END StartStopTask */
}

void StartLEDTask(void const * argument)
{
  /* USER CODE BEGIN StartLEDTask */
  /* Infinite loop */
  for(;;)
  {
	/* Check if the task is running */
	UBaseType_t stackHighWaterMark = uxTaskGetStackHighWaterMark(NULL);
	sprintf((char * )Usart3Array, "StartLEDTask Mark:%u words\n", (unsigned int)stackHighWaterMark);
	HAL_UART_Transmit(&huart3, (uint8_t *)Usart3Array, strlen((const char * )Usart3Array), 0XFFFF);
	size_t freeHeapSize = xPortGetFreeHeapSize();
	sprintf((char * )Usart3Array, "StartLEDTask Free Heap Size:%u bytes\n", (unsigned int)freeHeapSize);
	HAL_UART_Transmit(&huart3, (uint8_t *)Usart3Array, strlen((const char * )Usart3Array), 0XFFFF);

	/* OLED Display */
	HAL_GPIO_TogglePin(LEDPC5_GPIO_Port, LEDPC5_Pin);
    osDelay(300);
  }
  /* USER CODE END StartLEDTask */
}

void StartOLEDTask(void const * argument)
{
  /* USER CODE BEGIN StartOLEDTask */
  /* Infinite loop */
  for(;;)
  {
	    /* Check if the task is running */
		UBaseType_t stackHighWaterMark = uxTaskGetStackHighWaterMark(NULL);
		sprintf((char * )Usart3Array, "StartOLEDTask Mark:%u words\n", (unsigned int)stackHighWaterMark);
		HAL_UART_Transmit(&huart3, (uint8_t *)Usart3Array, strlen((const char * )Usart3Array), 0XFFFF);
		size_t freeHeapSize = xPortGetFreeHeapSize();
		sprintf((char * )Usart3Array, "StartOLEDTask Free Heap Size:%u bytes\n", (unsigned int)freeHeapSize);
		HAL_UART_Transmit(&huart3, (uint8_t *)Usart3Array, strlen((const char * )Usart3Array), 0XFFFF);

	  /* OLED Display Info (Current Key Mode) */
	  sprintf((char * )K1_1, "Key_Mode:%d", Key_Mode);
	  OLED_ShowString(0, 2, K1_1, 16, 1); // show current key mode

	  /* OLED Display Info (Speed, Distance, Voltage) */
	  sprintf((char * )K1_1, "Motor1Speed:%f Motor2Speed:%f", Motor1Speed, Motor2Speed);
	  OLED_ShowString(0, 3, K1_1, 16, 1); // From oled.c, a function that shows position

	  sprintf((char * )K1_1, "Distance:%f", distance);
	  OLED_ShowString(0, 4, K1_1, 16, 1); // a function that shows distance traveled

//		  sprintf((char * )K1_1, "Battery_Voltage:%.2d", adcGetBatteryVoltage());
//		  OLED_ShowString(0, 2, K1_1, 16, 1); // a function that shows battery voltage

	  sprintf((char * )Usart3Array, "HC_SR04:%.2f\r\n", HC_SR04_Read());
	  OLED_ShowString(0, 5, K1_1, 16, 1); // a function that shows HC_SR04(supersonic wave) value

	  sprintf((char * )Usart3Array, "pitch:%.2f roll:%.2f yaw:%.2f\r\n", pitch, roll, yaw);
	  OLED_ShowString(0, 6, K1_1, 16, 1); // a function that shows 6050 position values

	  /* Receive 6050 data */
//	  while(mpu_dmp_get_data(&pitch, &roll, &yaw) != 0) {};

	  /* Show Motors Stop */
//	  motorPIDSetSpeed(0, 0);

      osDelay(10);
  }
  /* USER CODE END StartOLEDTask */
}

void StartMulti_ModeTask(void const * argument)
{
  /* USER CODE BEGIN StartMulti_ModeTask */
  /* Infinite loop */
  for(;;)
  {
	    /* Check if the task is running */
		UBaseType_t stackHighWaterMark = uxTaskGetStackHighWaterMark(NULL);
		sprintf((char * )Usart3Array, "StartMulti_ModeTask Mark:%u words\n", (unsigned int)stackHighWaterMark);
		HAL_UART_Transmit(&huart3, (uint8_t *)Usart3Array, strlen((const char * )Usart3Array), 0XFFFF);
		size_t freeHeapSize = xPortGetFreeHeapSize();
		sprintf((char * )Usart3Array, "StartMulti_ModeTask Free Heap Size:%u bytes\n", (unsigned int)freeHeapSize);
		HAL_UART_Transmit(&huart3, (uint8_t *)Usart3Array, strlen((const char * )Usart3Array), 0XFFFF);

	  if(Key_Mode == 1){

		  /* Infrared Movement With PID */
		  InfraredLevel_Read[0] = Read_Infrared_1;
		  InfraredLevel_Read[1] = Read_Infrared_2;
		  InfraredLevel_Read[2] = Read_Infrared_3;
		  InfraredLevel_Read[3] = Read_Infrared_4;

		  if(InfraredLevel_Read[0] == 0 && InfraredLevel_Read[1] == 0 && InfraredLevel_Read[2] == 0 && InfraredLevel_Read[3] == 0){
	//		  sprintf(uart_buf, "Moving Forward\r\n");
	//		  HAL_UART_Transmit(&huart1, (uint8_t *)uart_buf, strlen(uart_buf), 100); // Increase efficiency
			  CurrentState = 0; // move forward
		  }
		  else if(InfraredLevel_Read[0] == 0 && InfraredLevel_Read[1] == 1 && InfraredLevel_Read[2] == 0 && InfraredLevel_Read[3] == 0){
	//		  sprintf(uart_buf, "Turn Right\r\n");
	//		  HAL_UART_Transmit(&huart1, (uint8_t *)uart_buf, strlen(uart_buf), 100); // Increase efficiency
			  CurrentState = -1; // turn right
		  }
		  else if(InfraredLevel_Read[0] == 1 && InfraredLevel_Read[1] == 0 && InfraredLevel_Read[2] == 0 && InfraredLevel_Read[3] == 0){
	//		  sprintf(uart_buf, "Instantly Turn Right\r\n");
	//		  HAL_UART_Transmit(&huart1, (uint8_t *)uart_buf, strlen(uart_buf), 100); // Increase efficiency
			  CurrentState = -2; // instantly turn right
		  }
		  else if(InfraredLevel_Read[0] == 1 && InfraredLevel_Read[1] == 1 && InfraredLevel_Read[2] == 0 && InfraredLevel_Read[3] == 0){
	//		  sprintf(uart_buf, "Instantly Turn Right\r\n");
	//		  HAL_UART_Transmit(&huart1, (uint8_t *)uart_buf, strlen(uart_buf), 100); // Increase efficiency
			  CurrentState = -3; // instantly turn right
		  }
		  else if(InfraredLevel_Read[0] == 0 && InfraredLevel_Read[1] == 0 && InfraredLevel_Read[2] == 1 && InfraredLevel_Read[3] == 0){
	//		  sprintf(uart_buf, "Turn Left\r\n");
	//		  HAL_UART_Transmit(&huart1, (uint8_t *)uart_buf, strlen(uart_buf), 100); // Increase efficiency
			  CurrentState = 1; // turn left
		  }
		  else if(InfraredLevel_Read[0] == 0 && InfraredLevel_Read[1] == 0 && InfraredLevel_Read[2] == 0 && InfraredLevel_Read[3] == 1){
	//		  sprintf(uart_buf, "Instantly Turn Left\r\n");
	//		  HAL_UART_Transmit(&huart1, (uint8_t *)uart_buf, strlen(uart_buf), 100); // Increase efficiency
			  CurrentState = 2; // instantly turn left
		  }
		  else if(InfraredLevel_Read[0] == 0 && InfraredLevel_Read[1] == 0 && InfraredLevel_Read[2] == 1 && InfraredLevel_Read[3] == 1){
	//		  sprintf(uart_buf, "Instantly Turn Left\r\n");
	//		  HAL_UART_Transmit(&huart1, (uint8_t *)uart_buf, strlen(uart_buf), 100); // Increase efficiency
			  CurrentState = 3; // instantly turn left
		  }

		  Infraredpid_Speed = PID_realize(&pidInfrared_Tracking, CurrentState); // PID calculates the target speed
		  Infraredpid_Speed1 = 3 + Infraredpid_Speed; // Motor1 Speed = Initial Speed + PID Output Speed
		  Infraredpid_Speed2 = 3 - Infraredpid_Speed; // Motor2 Speed = Initial Speed - PID Output Speed
		  if(Infraredpid_Speed1 > 5) Infraredpid_Speed1 = 5;
		  if(Infraredpid_Speed1 < 0) Infraredpid_Speed1 = 0;
		  if(Infraredpid_Speed2 > 5) Infraredpid_Speed2 = 5;
		  if(Infraredpid_Speed2 < 0) Infraredpid_Speed2 = 0;
		  if(CurrentState != PreviousState){
			  motorPIDSetSpeed(Infraredpid_Speed1, Infraredpid_Speed2);
		  }
		  PreviousState = CurrentState;
	  }

	  if(Key_Mode == 2){
		  /* Using Computer USART to Control Car */
		  // This is completed in stm32f1xx_it.c
	  }

	  if(Key_Mode == 3){
		  /* Obstacle Avoidance */
		  	  if(HC_SR04_Read() > 25){ // the next 25cm are clear, no obstacle
		  		  motorPIDSetSpeed(1, 1); // move forward
		  		  osDelay(100);
		  	  }
		  	  else{ // obstacle in front
		  		  motorPIDSetSpeed(-1, 1); // turn around (to the right)
		  	   	  osDelay(500);
		  		  if(HC_SR04_Read() > 25){ // no obstacle at the right
		  			  motorPIDSetSpeed(1, 1); // move forward
		  			  osDelay(100);
		  		  }
		  		  else{ // obstacle at the right
		  			  motorPIDSetSpeed(1, -1); // turn around (to the left)
		  			  osDelay(1000);
		  			  if(HC_SR04_Read() > 25){ // no obstacle at the left
		  				  motorPIDSetSpeed(1, 1); // move forward
		  				  osDelay(100);
		  			  }
		  			  else{ // obstacle at the left
		  				  motorPIDSetSpeed(-1, -1); // move backward
		  				  osDelay(1000);
		  				  motorPIDSetSpeed(-1, 1); // turn around (to the right)
		  				  osDelay(50);
		  			  }
		  		  }
		  	  }
	  }

	  if(Key_Mode == 4){
		  /* Following with PID */
		  SR04_Read = HC_SR04_Read(); // read the distance to the obstacle
		  if(SR04_Read < 60){ // start following when the obstacle is 60cm ahead
			  PID_Follow = PID_realize(&pidFollow, SR04_Read); // PID calculates target speed
			  if(PID_Follow > 6) PID_Follow = 6;
			  if(PID_Follow < -6) PID_Follow = -6;
			  motorPIDSetSpeed(PID_Follow, PID_Follow); // speed applies to motors
		  }
		  else motorPIDSetSpeed(0, 0); // stop
		  osDelay(10);
	  }

	  if(Key_Mode == 5){
		  sprintf((char * )Usart3Array, "pitch:%.2f roll:%.2f yaw:%.2f\r\n", pitch, roll, yaw);
		  HAL_UART_Transmit(&huart3, (uint8_t *)Usart3Array, strlen((const char * )Usart3Array), 0XFFFF);

		 	  /* MPU_6050 PID Control */
		 	  // mpu_dmp_get_data(&pitch, &roll, &yaw); // DMP returns angle value
//		 	  while(mpu_dmp_get_data(&pitch, &roll, &yaw) != 0){}

		 	  MPU6050pid_YawMove = PID_realize(&pidMPU6050_YawMovement, yaw); // PID calculates target speed
		 	  MPU6050pid_YawMove1 = 1.5 + MPU6050pid_YawMove;
		 	  MPU6050pid_YawMove2 = 1.5 - MPU6050pid_YawMove;
		 	  if(MPU6050pid_YawMove1 > 3.5) MPU6050pid_YawMove1 = 3.5;
		 	  if(MPU6050pid_YawMove1 < 0) MPU6050pid_YawMove1 = 0;
		 	  if(MPU6050pid_YawMove2 > 3.5) MPU6050pid_YawMove2 = 3.5;
		 	  if(MPU6050pid_YawMove2 < 0) MPU6050pid_YawMove2 = 0;
		 	  motorPIDSetSpeed(MPU6050pid_YawMove1, MPU6050pid_YawMove2);
	  }
    osDelay(10);
  }
  /* USER CODE END StartMulti_ModeTask */
}
